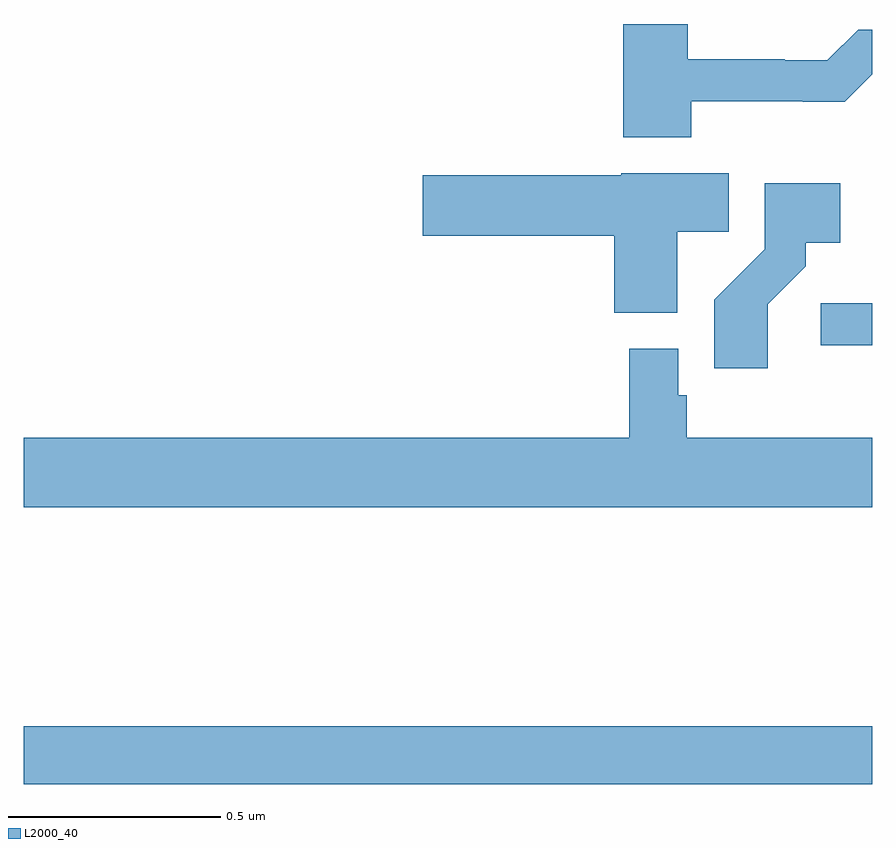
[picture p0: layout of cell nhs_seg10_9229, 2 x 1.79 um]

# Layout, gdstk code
import gdstk
lib = gdstk.Library(unit=1e-6, precision=1e-09)
def R(c, l, rs):  # rectangles x0, y0, x1, y1
    for r in rs: c.add(gdstk.rectangle(r[:2], r[2:], *l))
def P(c, l, *ps):  # polygons
    for p in ps: c.add(gdstk.Polygon(p, *l))
L2000_40 = (2000, 40)

nhs_seg10_9229 = lib.new_cell('nhs_seg10_9229')
R(nhs_seg10_9229, L2000_40, [(227,1255.708,229,1255.844), (228.879,1256.743,229,1256.841)])
P(nhs_seg10_9229, L2000_40, [(228.573,1257.318),(228.836,1257.318),(228.836,1257.317),(228.935,1257.317),(229,1257.382),(229,1257.487),(228.967,1257.487),(228.894,1257.414),(228.794,1257.414),(228.794,1257.417),(228.565,1257.417),(228.565,1257.5),(228.413,1257.5),(228.413,1257.233),(228.573,1257.233)],
  [(228.541,1257.01),(228.662,1257.01),(228.662,1257.148),(228.408,1257.148),(228.408,1257.143),(227.94,1257.143),(227.94,1257.001),(228.392,1257.001),(228.392,1256.819),(228.541,1256.819)],
  [(228.754,1256.839),(228.844,1256.929),(228.844,1256.984),(228.925,1256.984),(228.925,1257.124),(228.747,1257.124),(228.747,1256.969),(228.628,1256.85),(228.628,1256.688),(228.754,1256.688)],
  [(229,1256.524),(228.563,1256.524),(228.563,1256.625),(228.543,1256.625),(228.543,1256.734),(228.427,1256.734),(228.427,1256.524),(227,1256.524),(227,1256.36),(229,1256.36)])

lib.write_gds('nhs_seg10_9229.gds')
